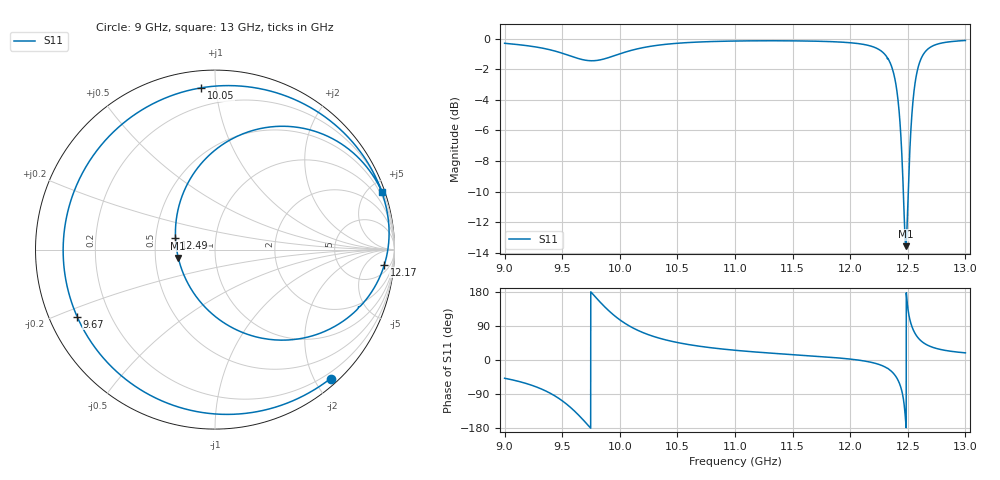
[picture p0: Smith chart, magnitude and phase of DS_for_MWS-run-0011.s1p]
! TOUCHSTONE file generated by CST DESIGN STUDIO
! Date and time: Tue Feb  4 16:28:45 2025
! Project name: C:\Work\MatlabApps\UnitCellOptimizationMatlab\CST\unitcell.cst
! Tree item: Tasks\Sweep1\SPara1\S-Parameters
! Header version: 2024
! Port assignment regex: !\s*Touchstone port\s*([0-9]+)\s*=\s*(CST MWS port|CST DES external port|CST DES block port)\s*(.+)\s* \(\"(.*)\"\)(\s*mode\s*([0-9]+))?.*
! Touchstone port assignment:
! Touchstone port 1 = CST DES external port 1 ("")
# GHz S MA R 50
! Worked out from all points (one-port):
!   4001 points, 9 GHz to 13 GHz, reference 50 ohm
!   lowest |S11| = -13.6 dB at 12.48 GHz (marker M1), VSWR 1.53, Z = 32.9 - j3.21 ohm
!   |S11| at or under -10 dB: 12.46134 GHz to 12.50375 GHz (42.42 MHz wide, 0.34 % of centre)
!   S11 on the Smith chart (normalised r, x): 9 GHz: 0.11, -2.23; 9.67 GHz: 0.08, -0.23; 10.05 GHz: 0.09, +0.91; 12.17 GHz: 10, -17; 12.49 GHz: 0.63, +0.09; 13 GHz: 0.27, +6.01
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9  0.9648 -48.1
9.272  0.9383 -70.7
9.5  0.8953 -107.6
9.585  0.8734 -128.6
9.67  0.8542 -154.1
9.808  0.8487 159.7
9.904  0.8666 130.1
10  0.8911 106.1
10.055  0.9047 94.8
10.256  0.9417 66.0
10.5  0.9649 46.1
11  0.9813 25.7
11.5  0.9826 14.2
12  0.9687 2.4
12.166  0.9477 -5.0
12.327  0.8613 -22.5
12.374  0.7775 -34.7
12.414  0.6349 -52.6
12.449  0.4126 -82.8
12.483  0.2097 -167.2
12.491  0.23 163.1
12.5  0.2869 137.5
12.53  0.5268 93.5
12.56  0.7016 71.8
12.608  0.8462 52.4
12.666  0.9179 39.9
12.786  0.9651 27.7
13  0.9855 18.8
